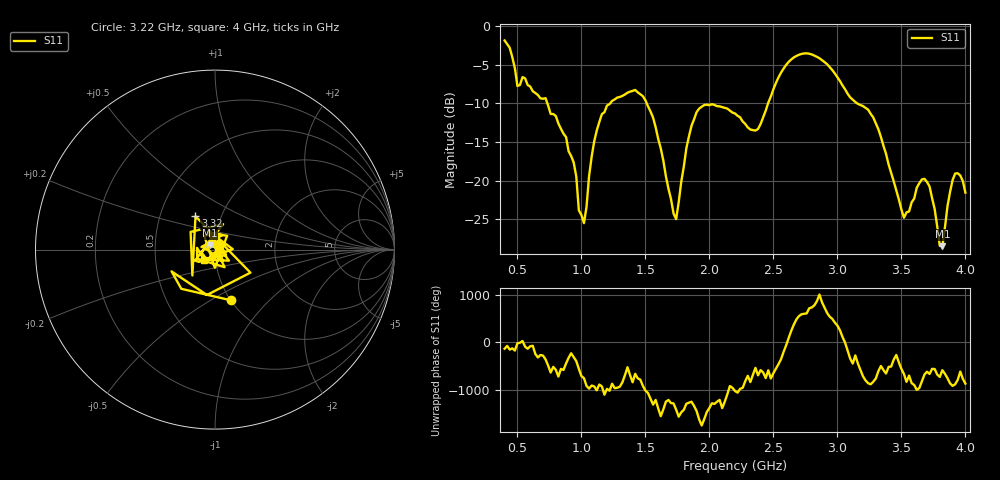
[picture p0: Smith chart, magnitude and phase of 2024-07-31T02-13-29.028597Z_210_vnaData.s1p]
!Created with skrf (http://scikit-rf.org).
# Hz S RI R 50.0
!freq ReS11 ImS11
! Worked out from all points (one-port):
!   181 points, 400 MHz to 4 GHz, reference 50 ohm
!   lowest |S11| = -28.5 dB at 3.82 GHz (marker M1), VSWR 1.08, Z = 47.1 + j2.22 ohm
!   |S11| at or under -10 dB: 734.1 MHz to 1.224 GHz (490.1 MHz wide, 50.1 % of centre); 1.51 GHz to 2.458 GHz (947.6 MHz wide, 47.8 % of centre); 3.155 GHz to end of sweep
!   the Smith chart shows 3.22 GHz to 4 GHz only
!   S11 on the Smith chart (normalised r, x): 3.22 GHz: 1.00, -0.62; 3.32 GHz: 0.75, +0.29; 4 GHz: 0.88, -0.10
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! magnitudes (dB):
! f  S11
! 400 MHz  -1.8
! 500 MHz  -7.7
! 720 MHz  -9.3
! 860 MHz  -13.9
! 940 MHz  -17.7
! 980 MHz  -23.9
! 1.02 GHz  -25.5
! 1.12 GHz  -13.5
! 1.3 GHz  -9.2
! 1.5 GHz  -9.6
! 1.58 GHz  -13.1
! 1.72 GHz  -24.3
! 1.76 GHz  -22.8
! 1.82 GHz  -15.8
! 1.9 GHz  -11.1
! 2.2 GHz  -11.3
! 2.38 GHz  -13.3
! 2.66 GHz  -4.0
! 2.86 GHz  -4.1
! 3.1 GHz  -9.2
! 3.22 GHz  -10.6
! 3.32 GHz  -13.3
! 3.52 GHz  -24.8
! 3.56 GHz  -24.0
! 3.68 GHz  -19.8
! 3.82 GHz  -28.5
! 3.92 GHz  -19.1
! 4 GHz  -21.6
